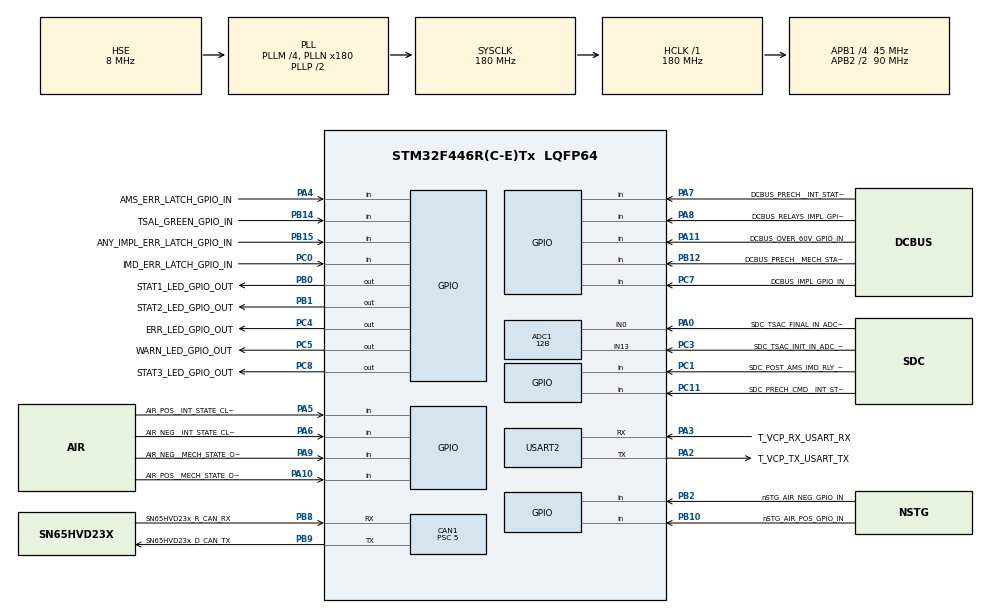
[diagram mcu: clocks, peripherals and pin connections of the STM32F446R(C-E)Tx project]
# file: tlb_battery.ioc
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ADC1.Channel-2\#ChannelRegularConversion=ADC_CHANNEL_13
ADC1.Channel-3\#ChannelRegularConversion=ADC_CHANNEL_0
ADC1.ClockPrescaler=ADC_CLOCK_SYNC_PCLK_DIV6
ADC1.DMAContinuousRequests=ENABLE
ADC1.DiscontinuousConvMode=DISABLE
ADC1.EOCSelection=ADC_EOC_SEQ_CONV
ADC1.ExternalTrigConv=ADC_EXTERNALTRIGCONV_T2_TRGO
ADC1.NbrOfConversion=2
ADC1.NbrOfConversionFlag=1
ADC1.Rank-2\#ChannelRegularConversion=1
ADC1.Rank-3\#ChannelRegularConversion=2
ADC1.Resolution=ADC_RESOLUTION_12B
ADC1.SamplingTime-2\#ChannelRegularConversion=ADC_SAMPLETIME_480CYCLES
ADC1.SamplingTime-3\#ChannelRegularConversion=ADC_SAMPLETIME_480CYCLES
ADC1.ScanConvMode=ENABLE
ADC1.master=1
CAN1.ABOM=ENABLE
CAN1.BS1=CAN_BS1_15TQ
CAN1.BS2=CAN_BS2_2TQ
CAN1.CalculateBaudRate=500000
CAN1.CalculateTimeBit=2000
CAN1.CalculateTimeQuantum=111.11111111111111
CAN1.NART=ENABLE
CAN1.Prescaler=5
Dma.ADC1.0.Direction=DMA_PERIPH_TO_MEMORY
Dma.ADC1.0.FIFOMode=DMA_FIFOMODE_DISABLE
Dma.ADC1.0.Instance=DMA2_Stream0
Dma.ADC1.0.MemDataAlignment=DMA_MDATAALIGN_HALFWORD
Dma.ADC1.0.MemInc=DMA_MINC_ENABLE
Dma.ADC1.0.Mode=DMA_CIRCULAR
Dma.ADC1.0.PeriphDataAlignment=DMA_PDATAALIGN_HALFWORD
Dma.ADC1.0.PeriphInc=DMA_PINC_DISABLE
Dma.ADC1.0.Priority=DMA_PRIORITY_LOW
Dma.Request0=ADC1
IWDG.Prescaler=IWDG_PRESCALER_4
IWDG.Reload=4096-1
Mcu.Family=STM32F4
Mcu.Name=STM32F446R(C-E)Tx
Mcu.Package=LQFP64
NVIC.ADC_IRQn=true\:0\:0\:false\:false\:true\:true\:true\:true
NVIC.CAN1_RX0_IRQn=true\:0\:0\:false\:false\:true\:true\:true\:true
NVIC.CAN1_SCE_IRQn=true\:0\:0\:false\:false\:true\:true\:true\:true
NVIC.DMA2_Stream0_IRQn=true\:0\:0\:false\:false\:true\:false\:true\:true
NVIC.PriorityGroup=NVIC_PRIORITYGROUP_4
NVIC.TIM2_IRQn=true\:0\:0\:false\:false\:true\:true\:true\:true
PA0-WKUP.GPIO_Label=SDC_TSAC_FINAL_IN_ADC_IN
PA0-WKUP.Signal=ADCx_IN0
PA10.GPIO_Label=AIR_POS__MECH_STATE_OPEN_GPIO_IN
PA10.Signal=GPIO_Input
PA11.GPIO_Label=DCBUS_OVER_60V_GPIO_IN
PA11.Signal=GPIO_Input
PA13.Mode=JTAG_4_pins
PA13.Signal=SYS_JTMS-SWDIO
PA14.Mode=JTAG_4_pins
PA14.Signal=SYS_JTCK-SWCLK
PA15.Mode=JTAG_4_pins
PA15.Signal=SYS_JTDI
PA2.GPIO_Label=T_VCP_TX_USART_TX
PA2.Mode=Asynchronous
PA2.Signal=USART2_TX
PA3.GPIO_Label=T_VCP_RX_USART_RX
PA3.Mode=Asynchronous
PA3.Signal=USART2_RX
PA4.GPIO_Label=AMS_ERR_LATCH_GPIO_IN
PA4.Signal=GPIO_Input
PA5.GPIO_Label=AIR_POS__INT_STATE_CLOSED_GPIO_IN
PA5.Signal=GPIO_Input
PA6.GPIO_Label=AIR_NEG__INT_STATE_CLOSED_GPIO_IN
PA6.Signal=GPIO_Input
PA7.GPIO_Label=DCBUS_PRECH__INT_STATE_CLOSED_GPIO_IN
PA7.Signal=GPIO_Input
PA8.GPIO_Label=DCBUS_RELAYS_IMPL_GPIO_IN
PA8.Signal=GPIO_Input
PA9.GPIO_Label=AIR_NEG__MECH_STATE_OPEN_3V3
PA9.Signal=GPIO_Input
PB0.GPIO_Label=STAT1_LED_GPIO_OUT
PB0.Signal=GPIO_Output
PB1.GPIO_Label=STAT2_LED_GPIO_OUT
PB1.Signal=GPIO_Output
PB10.GPIO_Label=nSTG_AIR_POS_GPIO_IN
PB10.Signal=GPIO_Input
PB12.GPIO_Label=DCBUS_PRECH__MECH_STATE_OPEN_GPIO_IN
PB12.Signal=GPIO_Input
PB14.GPIO_Label=TSAL_GREEN_GPIO_IN
PB14.Signal=GPIO_Input
PB15.GPIO_Label=ANY_IMPL_ERR_LATCH_GPIO_IN
PB15.Signal=GPIO_Input
PB2.GPIO_Label=nSTG_AIR_NEG_GPIO_IN
PB2.Signal=GPIO_Input
PB3.Mode=JTAG_4_pins
PB3.Signal=SYS_JTDO-SWO
PB8.GPIO_Label=SN65HVD23x_R_CAN_RX
PB8.Mode=CAN_Activate
PB8.Signal=CAN1_RX
PB9.GPIO_Label=SN65HVD23x_D_CAN_TX
PB9.Mode=CAN_Activate
PB9.Signal=CAN1_TX
PC0.GPIO_Label=IMD_ERR_LATCH_GPIO_IN
PC0.Signal=GPIO_Input
PC1.GPIO_Label=SDC_POST_AMS_IMD_RLY_GPIO_IN
PC1.Signal=GPIO_Input
PC11.GPIO_Label=SDC_PRECH_CMD__INT_STATE_OPEN_GPIO_IN
PC11.Signal=GPIO_Input
PC3.GPIO_Label=SDC_TSAC_INIT_IN_ADC_IN
PC3.Signal=ADCx_IN13
PC4.GPIO_Label=ERR_LED_GPIO_OUT
PC4.Signal=GPIO_Output
PC5.GPIO_Label=WARN_LED_GPIO_OUT
PC5.Signal=GPIO_Output
PC7.GPIO_Label=DCBUS_IMPL_GPIO_IN
PC7.Signal=GPIO_Input
PC8.GPIO_Label=STAT3_LED_GPIO_OUT
PC8.Signal=GPIO_Output
PH0-OSC_IN.Mode=HSE-External-Oscillator
PH0-OSC_IN.Signal=RCC_OSC_IN
PH1-OSC_OUT.Mode=HSE-External-Oscillator
PH1-OSC_OUT.Signal=RCC_OSC_OUT
ProjectManager.HeapSize=0x200
ProjectManager.StackSize=0x400
ProjectManager.TargetToolchain=Makefile
RCC.AHBFreq_Value=180000000
RCC.APB1CLKDivider=RCC_HCLK_DIV4
RCC.APB1Freq_Value=45000000
RCC.APB1TimFreq_Value=90000000
RCC.APB2CLKDivider=RCC_HCLK_DIV2
RCC.APB2Freq_Value=90000000
RCC.APB2TimFreq_Value=180000000
RCC.CortexFreq_Value=180000000
RCC.HCLKFreq_Value=180000000
RCC.HSE_VALUE=8000000
RCC.PLLM=4
RCC.PLLN=180
RCC.PLLSourceVirtual=RCC_PLLSOURCE_HSE
RCC.SYSCLKFreq_VALUE=180000000
RCC.SYSCLKSource=RCC_SYSCLKSOURCE_PLLCLK
RCC.USBFreq_Value=180000000
RCC.VCOOutputFreq_Value=360000000
SH.ADCx_IN0.0=ADC1_IN0,IN0
SH.ADCx_IN13.0=ADC1_IN13,IN13
TIM2.AutoReloadPreload=TIM_AUTORELOAD_PRELOAD_ENABLE
TIM2.Period=9000-1
TIM2.Prescaler=10-1
TIM2.TIM_MasterOutputTrigger=TIM_TRGO_UPDATE
USART2.VirtualMode=VM_ASYNC
VP_IWDG_VS_IWDG.Mode=IWDG_Activate
VP_TIM2_VS_ClockSourceINT.Mode=Internal
board=custom

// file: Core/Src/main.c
/* USER CODE BEGIN Header */
/**
  ******************************************************************************
  * @file           : main.c
  * @brief          : Main program body
  ******************************************************************************
  * @attention
  *
  * Copyright (c) 2022 STMicroelectronics.
  * All rights reserved.
  *
  * This software is licensed under terms that can be found in the LICENSE file
  * in the root directory of this software component.
  * If no LICENSE file comes with this software, it is provided AS-IS.
  *
  ******************************************************************************
  */
/* USER CODE END Header */
#include "main.h"
#include "adc.h"
#include "can.h"
#include "dma.h"
#include "iwdg.h"
#include "tim.h"
#include "usart.h"
#include "gpio.h"

/* USER CODE BEGIN Includes */

#include "bsp.h"
#include "mcb.h"

#include <stdio.h>
#include <string.h>

/* USER CODE END Includes */

void SystemClock_Config(void);

int main(void)
{

  /* MCU Configuration--------------------------------------------------------*/

  /* Reset of all peripherals, Initializes the Flash interface and the Systick. */
  HAL_Init();

  /* Configure the system clock */
  SystemClock_Config();

  /* Initialize all configured peripherals */
  MX_GPIO_Init();
  MX_DMA_Init();
  MX_TIM2_Init();
  MX_ADC1_Init();
  MX_CAN1_Init();
  MX_USART2_UART_Init();
  MX_IWDG_Init();
  /* USER CODE BEGIN 2 */
    MCB_send_msg(MCB_TLB_BAT_HELLO_FRAME_ID);
  /* USER CODE END 2 */

  /* Infinite loop */
  /* USER CODE BEGIN WHILE */
    char log_buf[400]           = {0};  // init logging buffer
    volatile uint32_t cnt_10ms  = HAL_GetTick() + 10U;
    volatile uint32_t cnt_100ms = HAL_GetTick() + 100U;
    volatile uint32_t cnt_500ms = HAL_GetTick() + 500U;
    volatile uint32_t cnt_1s    = HAL_GetTick() + 1000U;
    while (1) {
    /* USER CODE END WHILE */

    /* USER CODE BEGIN 3 */

        if (HAL_GetTick() >= cnt_10ms) {
            cnt_10ms = HAL_GetTick() + 10U;
        }

        if (HAL_GetTick() >= cnt_100ms) {
        }

        STAT_LED_Routine();
        SDC_SENS_Routine();
        SDC_ANAL_SENS_Routine();
        SIG_SENS_Routine();
        HVRLYS_SENS_Routine();

        // needs updated data so leave routine as last
        MCB_SendMessagesRoutine();

        HAL_IWDG_Refresh(&hiwdg);  // refresh watchdog ~500ms timeout

    }  // end while(1)
  /* USER CODE END 3 */
}

void SystemClock_Config(void)
{
  RCC_OscInitTypeDef RCC_OscInitStruct = {0};
  RCC_ClkInitTypeDef RCC_ClkInitStruct = {0};

  /** Configure the main internal regulator output voltage
  */
  __HAL_RCC_PWR_CLK_ENABLE();
  __HAL_PWR_VOLTAGESCALING_CONFIG(PWR_REGULATOR_VOLTAGE_SCALE1);

  /** Initializes the RCC Oscillators according to the specified parameters
  * in the RCC_OscInitTypeDef structure.
  */
  RCC_OscInitStruct.OscillatorType = RCC_OSCILLATORTYPE_LSI|RCC_OSCILLATORTYPE_HSE;
  RCC_OscInitStruct.HSEState = RCC_HSE_ON;
  RCC_OscInitStruct.LSIState = RCC_LSI_ON;
  RCC_OscInitStruct.PLL.PLLState = RCC_PLL_ON;
  RCC_OscInitStruct.PLL.PLLSource = RCC_PLLSOURCE_HSE;
  RCC_OscInitStruct.PLL.PLLM = 4;
  RCC_OscInitStruct.PLL.PLLN = 180;
  RCC_OscInitStruct.PLL.PLLP = RCC_PLLP_DIV2;
  RCC_OscInitStruct.PLL.PLLQ = 2;
  RCC_OscInitStruct.PLL.PLLR = 2;
  if (HAL_RCC_OscConfig(&RCC_OscInitStruct) != HAL_OK)
  {
    Error_Handler();
  }

  /** Activate the Over-Drive mode
  */
  if (HAL_PWREx_EnableOverDrive() != HAL_OK)
  {
    Error_Handler();
  }

  /** Initializes the CPU, AHB and APB buses clocks
  */
  RCC_ClkInitStruct.ClockType = RCC_CLOCKTYPE_HCLK|RCC_CLOCKTYPE_SYSCLK
                              |RCC_CLOCKTYPE_PCLK1|RCC_CLOCKTYPE_PCLK2;
  RCC_ClkInitStruct.SYSCLKSource = RCC_SYSCLKSOURCE_PLLCLK;
  RCC_ClkInitStruct.AHBCLKDivider = RCC_SYSCLK_DIV1;
  RCC_ClkInitStruct.APB1CLKDivider = RCC_HCLK_DIV4;
  RCC_ClkInitStruct.APB2CLKDivider = RCC_HCLK_DIV2;

  if (HAL_RCC_ClockConfig(&RCC_ClkInitStruct, FLASH_LATENCY_5) != HAL_OK)
  {
    Error_Handler();
  }
}

void Error_Handler(void)
{
    __disable_irq();
    while (1) {
    }
}

#ifdef  USE_FULL_ASSERT
/**
  * @brief  Reports the name of the source file and the source line number
  *         where the assert_param error has occurred.
  * @param  file: pointer to the source file name
  * @param  line: assert_param error line source number
  * @retval None
  */
void assert_failed(uint8_t *file, uint32_t line)
{
  /* USER CODE BEGIN 6 */
    /* User can add his own implementation to report the file name and line number,
     * es: printf("Wrong parameters value: file %s on line %d\r\n", file, line) */
  /* USER CODE END 6 */
}
#endif /* USE_FULL_ASSERT */
